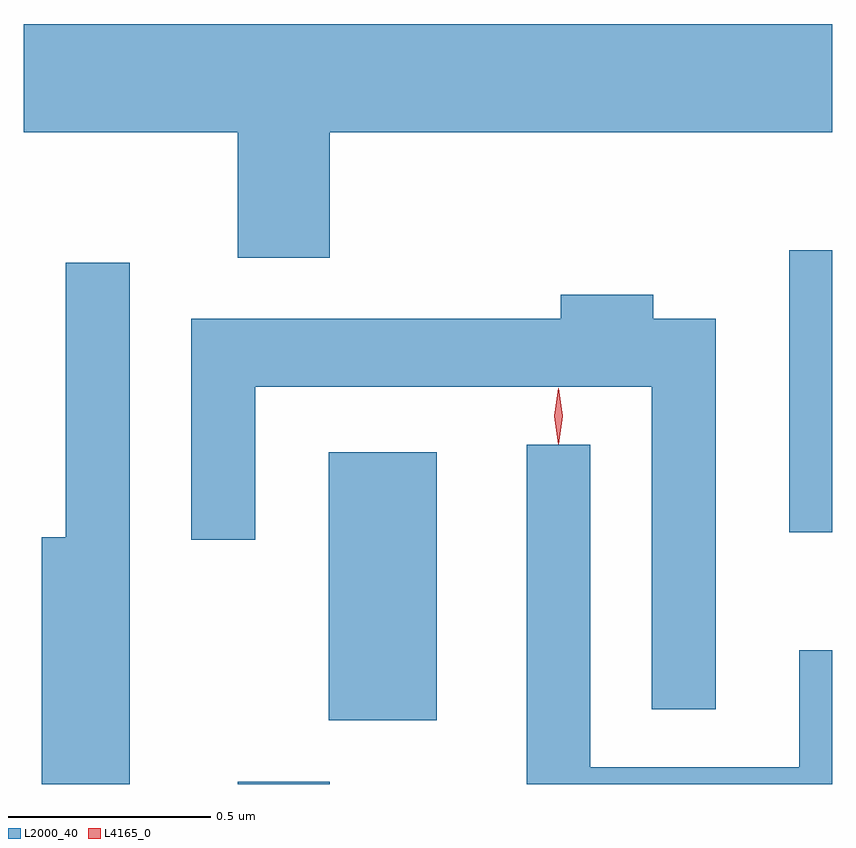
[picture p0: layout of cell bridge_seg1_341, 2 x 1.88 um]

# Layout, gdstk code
import gdstk
lib = gdstk.Library(unit=1e-6, precision=1e-09)
def R(c, l, rs):  # rectangles x0, y0, x1, y1
    for r in rs: c.add(gdstk.rectangle(r[:2], r[2:], *l))
def P(c, l, *ps):  # polygons
    for p in ps: c.add(gdstk.Polygon(p, *l))
L2000_40 = (2000, 40)
L4165_0 = (4165, 0)

bridge_seg1_341 = lib.new_cell('bridge_seg1_341')
R(bridge_seg1_341, L2000_40, [(935.801,875.763,936.029,875.769), (936.026,875.921,936.294,876.584), (937.166,876.386,937.272,877.084)])
P(bridge_seg1_341, L2000_40, [(936.029,877.376),(937.272,877.376),(937.272,877.644),(935.272,877.644),(935.272,877.376),(935.801,877.376),(935.801,877.066),(936.029,877.066)],
  [(935.534,877.053),(935.376,877.053),(935.376,876.374),(935.316,876.374),(935.316,875.763),(935.534,875.763)],
  [(936.984,876.914),(936.829,876.914),(936.829,876.974),(936.601,876.974),(936.601,876.914),(935.686,876.914),(935.686,876.368),(935.844,876.368),(935.844,876.746),(936.826,876.746),(936.826,875.948),(936.984,875.948)],
  [(937.272,876.094),(937.191,876.094),(937.191,875.804),(936.674,875.804),(936.674,876.603),(936.516,876.603),(936.516,875.763),(937.272,875.763)])
P(bridge_seg1_341, L4165_0, [(936.595,876.607),(936.594,876.608),(936.585,876.674),(936.594,876.74),(936.595,876.74),(936.595,876.74),(936.605,876.674),(936.595,876.608)],
  [(936.594,876.604),(936.585,876.673),(936.594,876.742),(936.595,876.743),(936.595,876.742),(936.605,876.673),(936.595,876.604),(936.595,876.604)])

lib.write_gds('bridge_seg1_341.gds')
